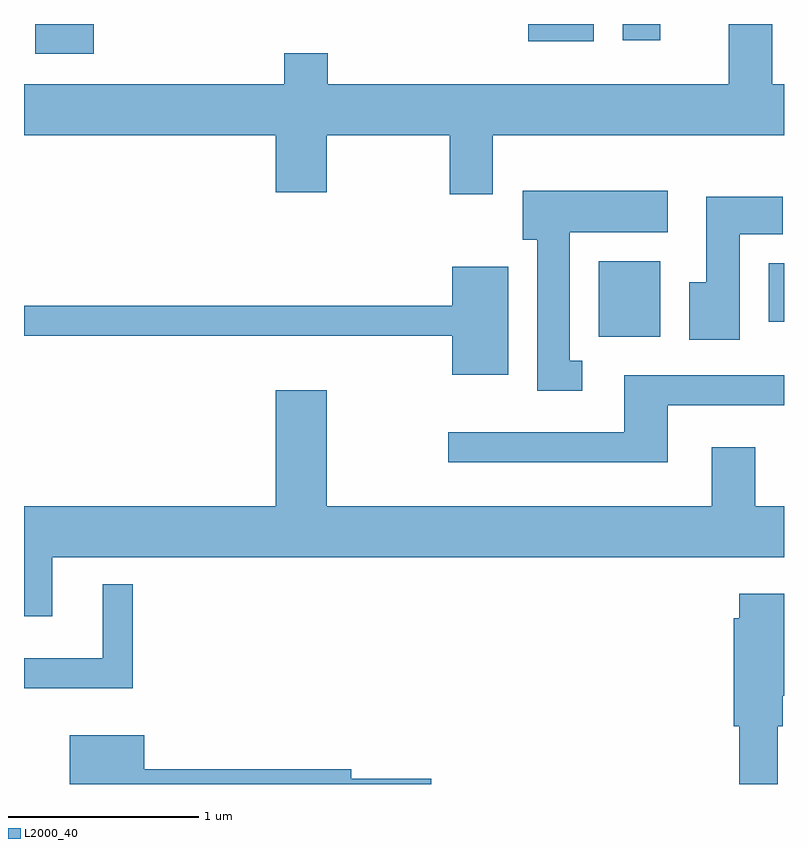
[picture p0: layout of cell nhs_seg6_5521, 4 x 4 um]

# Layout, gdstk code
import gdstk
lib = gdstk.Library(unit=1e-6, precision=1e-09)
def R(c, l, rs):  # rectangles x0, y0, x1, y1
    for r in rs: c.add(gdstk.rectangle(r[:2], r[2:], *l))
def P(c, l, *ps):  # polygons
    for p in ps: c.add(gdstk.Polygon(p, *l))
L2000_40 = (2000, 40)

nhs_seg6_5521 = lib.new_cell('nhs_seg6_5521')
R(nhs_seg6_5521, L2000_40, [(356.636,1564.516,356.959,1564.914), (357.531,1564.596,357.611,1564.904), (353.671,1566.006,353.978,1566.162), (356.266,1566.071,356.609,1566.162), (356.761,1566.076,356.959,1566.162), (354.483,1566.161,355.708,1566.162)])
P(nhs_seg6_5521, L2000_40, [(356.079,1565.576),(357.611,1565.576),(357.611,1565.844),(357.549,1565.844),(357.549,1566.162),(357.321,1566.162),(357.321,1565.844),(355.209,1565.844),(355.209,1566.009),(354.981,1566.009),(354.981,1565.844),(353.611,1565.844),(353.611,1565.576),(354.936,1565.576),(354.936,1565.276),(355.204,1565.276),(355.204,1565.576),(355.851,1565.576),(355.851,1565.266),(356.079,1565.266)],
  [(356.548,1564.389),(356.484,1564.389),(356.484,1565.066),(356.999,1565.066),(356.999,1565.284),(356.236,1565.284),(356.236,1565.026),(356.311,1565.026),(356.311,1564.231),(356.548,1564.231)],
  [(357.379,1565.056),(357.604,1565.056),(357.604,1565.254),(357.201,1565.254),(357.201,1564.804),(357.111,1564.804),(357.111,1564.501),(357.379,1564.501)],
  [(356.159,1564.884),(355.866,1564.884),(355.866,1564.679),(353.611,1564.679),(353.611,1564.521),(355.866,1564.521),(355.866,1564.316),(356.159,1564.316)],
  [(356.999,1564.156),(357.611,1564.156),(357.611,1564.314),(356.771,1564.314),(356.771,1564.014),(355.843,1564.014),(355.843,1563.856),(356.999,1563.856)],
  [(353.759,1563.356),(357.611,1563.356),(357.611,1563.624),(357.459,1563.624),(357.459,1563.934),(357.231,1563.934),(357.231,1563.624),(355.204,1563.624),(355.204,1564.234),(354.936,1564.234),(354.936,1563.624),(353.611,1563.624),(353.611,1563.046),(353.759,1563.046)],
  [(354.184,1563.213),(354.026,1563.213),(354.026,1562.824),(353.611,1562.824),(353.611,1562.666),(354.184,1562.666)],
  [(357.579,1562.466),(357.604,1562.466),(357.604,1562.626),(357.611,1562.626),(357.611,1563.164),(357.376,1563.164),(357.376,1563.034),(357.346,1563.034),(357.346,1562.466),(357.376,1562.466),(357.376,1562.162),(357.579,1562.162)],
  [(355.754,1562.189),(355.334,1562.189),(355.334,1562.239),(354.244,1562.239),(354.244,1562.419),(353.851,1562.419),(353.851,1562.162),(355.754,1562.162)])

lib.write_gds('nhs_seg6_5521.gds')
